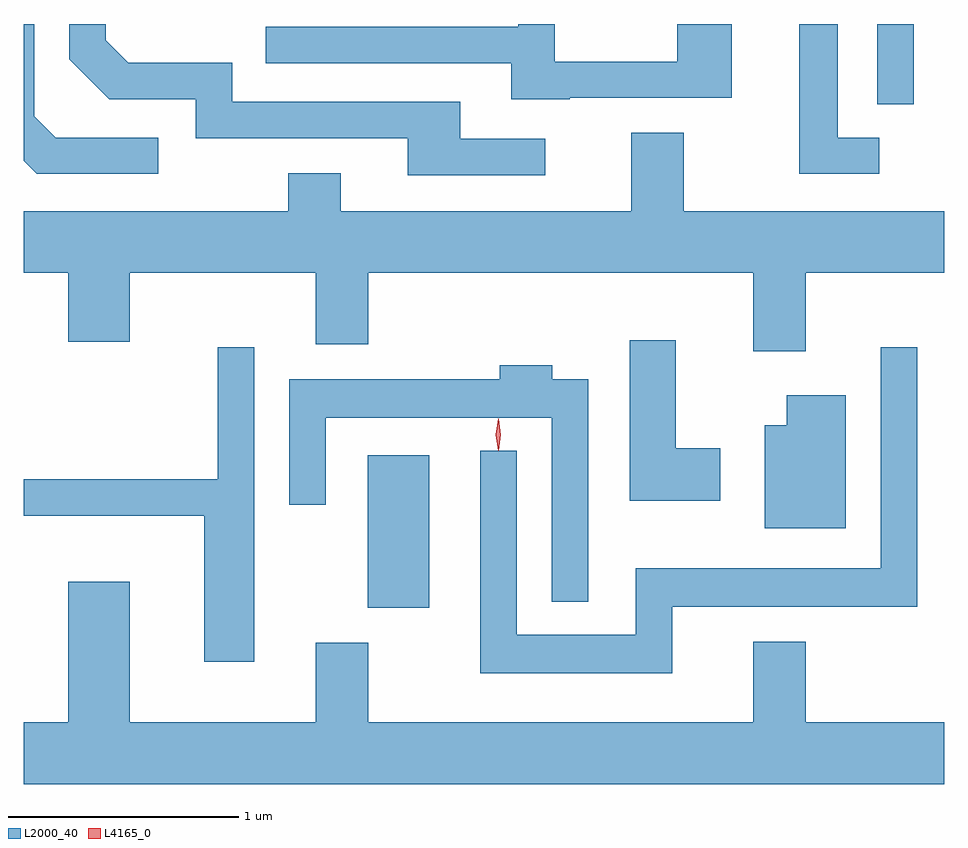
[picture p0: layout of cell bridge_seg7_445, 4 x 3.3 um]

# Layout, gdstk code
import gdstk
lib = gdstk.Library(unit=1e-6, precision=1e-09)
def R(c, l, rs):  # rectangles x0, y0, x1, y1
    for r in rs: c.add(gdstk.rectangle(r[:2], r[2:], *l))
def P(c, l, *ps):  # polygons
    for p in ps: c.add(gdstk.Polygon(p, *l))
L2000_40 = (2000, 40)
L4165_0 = (4165, 0)

bridge_seg7_445 = lib.new_cell('bridge_seg7_445')
R(bridge_seg7_445, L2000_40, [(1115.476,1715.081,1115.744,1715.744), (1117.691,1717.268,1117.849,1717.617)])
P(bridge_seg7_445, L2000_40, [(1117.698,1717.124),(1117.519,1717.124),(1117.519,1717.617),(1117.351,1717.617),(1117.351,1716.966),(1117.698,1716.966)],
  [(1116.248,1717.119),(1115.879,1717.119),(1115.879,1717.279),(1114.889,1717.279),(1114.889,1717.449),(1114.437,1717.449),(1114.339,1717.547),(1114.339,1717.617),(1114.181,1717.617),(1114.181,1717.464),(1114.354,1717.291),(1114.731,1717.291),(1114.731,1717.121),(1115.651,1717.121),(1115.651,1716.961),(1116.248,1716.961)],
  [(1114.568,1717.124),(1114.122,1717.124),(1114.029,1717.217),(1114.029,1717.617),(1113.982,1717.617),(1113.982,1717.023),(1114.039,1716.966),(1114.568,1716.966)],
  [(1116.355,1717.296),(1117.059,1717.296),(1117.059,1717.617),(1116.821,1717.617),(1116.821,1717.454),(1116.289,1717.454),(1116.289,1717.617),(1116.131,1717.617),(1116.131,1717.604),(1115.033,1717.604),(1115.033,1717.446),(1116.101,1717.446),(1116.101,1717.291),(1116.355,1717.291)],
  [(1117.379,1716.536),(1117.982,1716.536),(1117.982,1716.804),(1116.849,1716.804),(1116.849,1717.144),(1116.621,1717.144),(1116.621,1716.804),(1115.359,1716.804),(1115.359,1716.969),(1115.131,1716.969),(1115.131,1716.804),(1113.982,1716.804),(1113.982,1716.536),(1114.176,1716.536),(1114.176,1716.236),(1114.444,1716.236),(1114.444,1716.536),(1115.251,1716.536),(1115.251,1716.226),(1115.479,1716.226),(1115.479,1716.536),(1117.151,1716.536),(1117.151,1716.196),(1117.379,1716.196)],
  [(1117.009,1715.774),(1116.814,1715.774),(1116.814,1716.244),(1116.616,1716.244),(1116.616,1715.546),(1117.009,1715.546)],
  [(1114.984,1716.213),(1114.826,1716.213),(1114.826,1715.639),(1113.982,1715.639),(1113.982,1715.481),(1114.766,1715.481),(1114.766,1714.846),(1114.984,1714.846)],
  [(1116.799,1715.086),(1117.864,1715.086),(1117.864,1716.213),(1117.706,1716.213),(1117.706,1715.254),(1116.641,1715.254),(1116.641,1714.964),(1116.124,1714.964),(1116.124,1715.763),(1115.966,1715.763),(1115.966,1714.796),(1116.799,1714.796)],
  [(1116.434,1716.074),(1116.279,1716.074),(1116.279,1716.134),(1116.051,1716.134),(1116.051,1716.074),(1115.136,1716.074),(1115.136,1715.528),(1115.294,1715.528),(1115.294,1715.906),(1116.276,1715.906),(1116.276,1715.108),(1116.434,1715.108)],
  [(1117.554,1716.004),(1117.296,1716.004),(1117.296,1715.874),(1117.201,1715.874),(1117.201,1715.426),(1117.554,1715.426)],
  [(1117.982,1714.584),(1117.379,1714.584),(1117.379,1714.934),(1117.151,1714.934),(1117.151,1714.584),(1115.479,1714.584),(1115.479,1714.929),(1115.251,1714.929),(1115.251,1714.584),(1114.444,1714.584),(1114.444,1715.194),(1114.176,1715.194),(1114.176,1714.584),(1113.982,1714.584),(1113.982,1714.316),(1117.982,1714.316)])
P(bridge_seg7_445, L4165_0, [(1116.044,1715.764),(1116.044,1715.764),(1116.034,1715.833),(1116.044,1715.902),(1116.044,1715.903),(1116.045,1715.902),(1116.054,1715.833),(1116.045,1715.764)])

lib.write_gds('bridge_seg7_445.gds')
